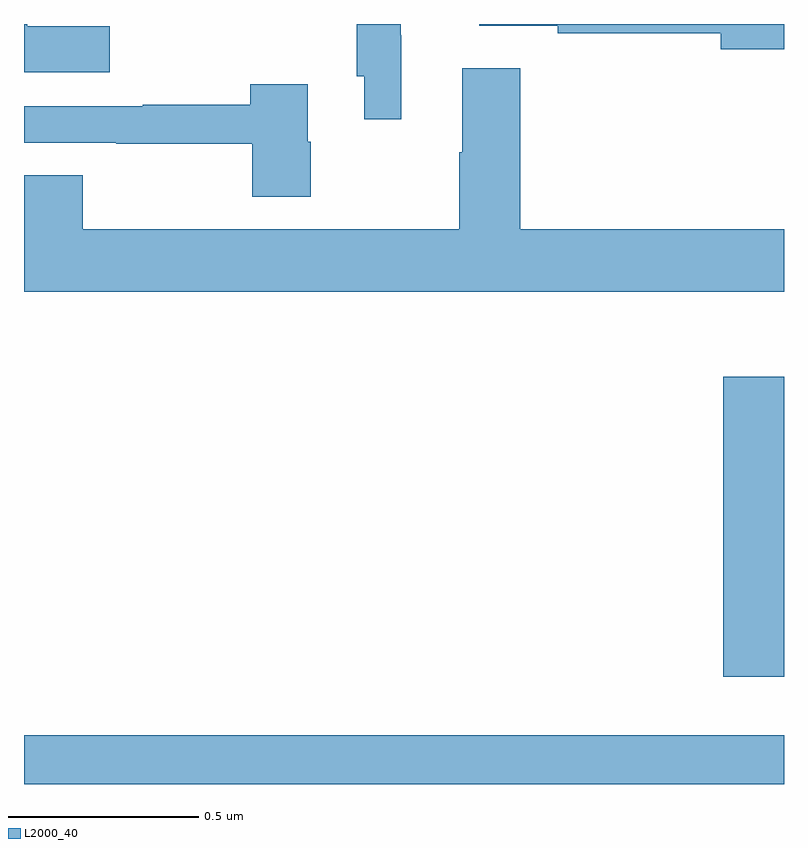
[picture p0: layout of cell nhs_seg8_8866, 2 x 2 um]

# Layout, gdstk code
import gdstk
lib = gdstk.Library(unit=1e-6, precision=1e-09)
def R(c, l, rs):  # rectangles x0, y0, x1, y1
    for r in rs: c.add(gdstk.rectangle(r[:2], r[2:], *l))
def P(c, l, *ps):  # polygons
    for p in ps: c.add(gdstk.Polygon(p, *l))
L2000_40 = (2000, 40)

nhs_seg8_8866 = lib.new_cell('nhs_seg8_8866')
R(nhs_seg8_8866, L2000_40, [(229,1085.9,231,1086.028), (230.84,1086.182,231,1086.972)])
P(nhs_seg8_8866, L2000_40, [(229.993,1087.871),(229.992,1087.871),(229.992,1087.9),(229.876,1087.9),(229.876,1087.762),(229.895,1087.762),(229.895,1087.65),(229.993,1087.65)],
  [(229.225,1087.894),(229.008,1087.894),(229.008,1087.9),(229,1087.9),(229,1087.773),(229.225,1087.773)],
  [(231,1087.9),(230.198,1087.9),(230.198,1087.896),(230.404,1087.896),(230.404,1087.876),(230.834,1087.876),(230.834,1087.834),(231,1087.834)],
  [(231,1087.36),(230.306,1087.36),(230.306,1087.783),(230.153,1087.783),(230.153,1087.562),(230.146,1087.562),(230.146,1087.36),(229.155,1087.36),(229.155,1087.502),(229,1087.502),(229,1087.196),(231,1087.196)],
  [(229.755,1087.59),(229.747,1087.59),(229.747,1087.741),(229.595,1087.741),(229.595,1087.688),(229.312,1087.688),(229.312,1087.683),(229,1087.683),(229,1087.587),(229.243,1087.587),(229.243,1087.585),(229.6,1087.585),(229.6,1087.446),(229.755,1087.446)])

lib.write_gds('nhs_seg8_8866.gds')
